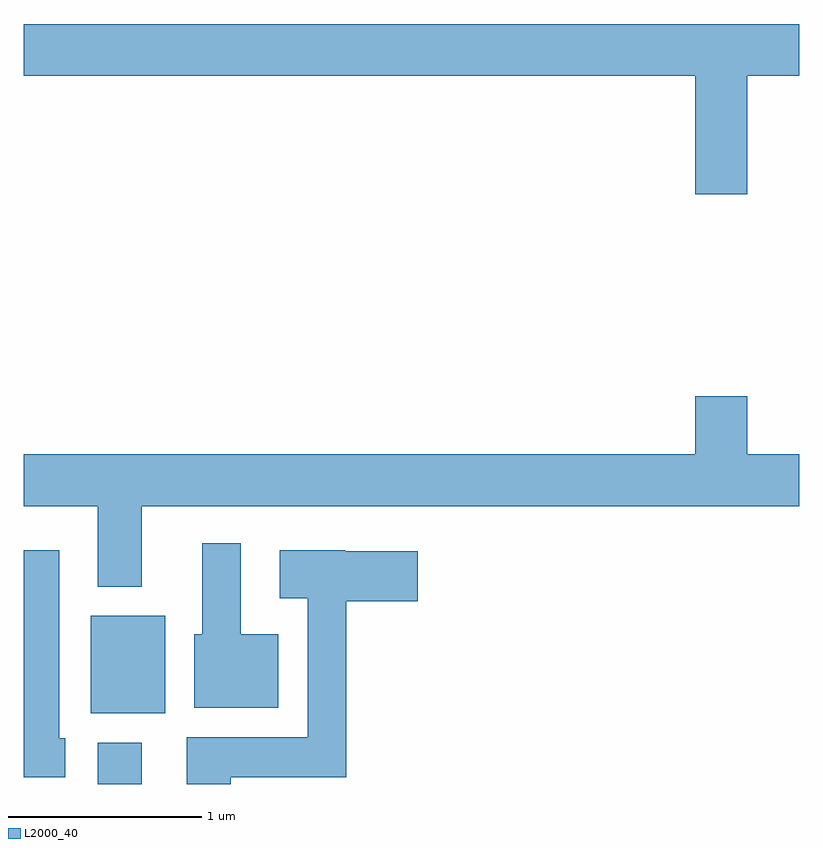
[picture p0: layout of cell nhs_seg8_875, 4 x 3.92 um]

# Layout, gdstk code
import gdstk
lib = gdstk.Library(unit=1e-6, precision=1e-09)
def R(c, l, rs):  # rectangles x0, y0, x1, y1
    for r in rs: c.add(gdstk.rectangle(r[:2], r[2:], *l))
def P(c, l, *ps):  # polygons
    for p in ps: c.add(gdstk.Polygon(p, *l))
L2000_40 = (2000, 40)

nhs_seg8_875 = lib.new_cell('nhs_seg8_875')
R(nhs_seg8_875, L2000_40, [(211.991,1808.342,212.219,1808.554), (211.956,1808.706,212.339,1809.209)])
P(nhs_seg8_875, L2000_40, [(215.344,1811.996),(215.611,1811.996),(215.611,1812.264),(211.611,1812.264),(211.611,1811.996),(215.076,1811.996),(215.076,1811.386),(215.344,1811.386)],
  [(215.076,1810.344),(215.076,1810.044),(211.611,1810.044),(211.611,1809.776),(211.991,1809.776),(211.991,1809.361),(212.219,1809.361),(212.219,1809.776),(215.611,1809.776),(215.611,1810.044),(215.344,1810.044),(215.344,1810.344)],
  [(212.924,1809.114),(212.729,1809.114),(212.729,1809.584),(212.531,1809.584),(212.531,1809.114),(212.491,1809.114),(212.491,1808.736),(212.924,1808.736)],
  [(212.679,1808.376),(213.274,1808.376),(213.274,1809.286),(213.644,1809.286),(213.644,1809.544),(213.27,1809.544),(213.27,1809.549),(212.931,1809.549),(212.931,1809.301),(213.076,1809.301),(213.076,1808.584),(212.451,1808.584),(212.451,1808.342),(212.679,1808.342)],
  [(211.824,1808.579),(211.794,1808.579),(211.794,1809.549),(211.611,1809.549),(211.611,1808.376),(211.824,1808.376)])

lib.write_gds('nhs_seg8_875.gds')
